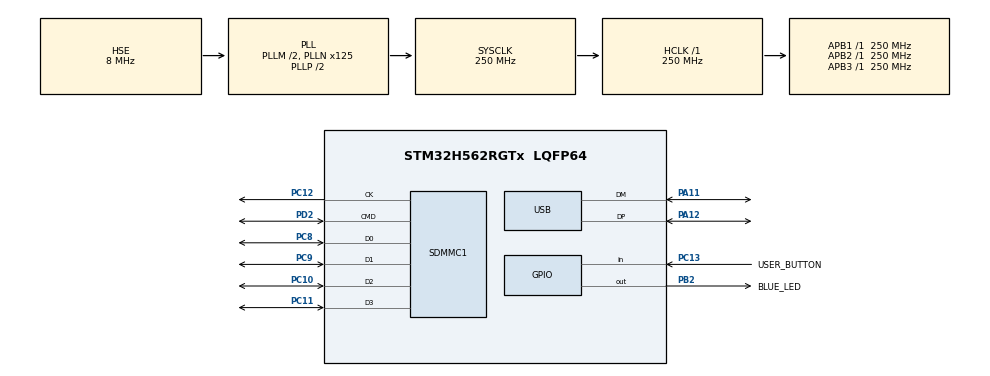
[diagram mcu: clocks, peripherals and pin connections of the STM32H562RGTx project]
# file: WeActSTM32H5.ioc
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BOOTPATH.BootPathName=LEGACY
BOOTPATH.UserSelectedBootPath=LEGACY
CORTEX_M33_NS.userName=CORTEX_M33
Mcu.Family=STM32H5
Mcu.Name=STM32H562RGTx
Mcu.Package=LQFP64
NVIC.PriorityGroup=NVIC_PRIORITYGROUP_4
NVIC.TIM1_UP_IRQn=true\:15\:0\:false\:false\:true\:false\:false\:true\:true
NVIC.TimeBase=TIM1_UP_IRQn
NVIC.TimeBaseIP=TIM1
NVIC.USB_DRD_FS_IRQn=true\:0\:0\:false\:false\:true\:false\:true\:true\:true
PA11.Mode=Device
PA11.Signal=USB_DM
PA12.Mode=Device
PA12.Signal=USB_DP
PA13(JTMS/SWDIO).Mode=Serial_Wire
PA13(JTMS/SWDIO).Signal=DEBUG_JTMS-SWDIO
PA14(JTCK/SWCLK).Mode=Serial_Wire
PA14(JTCK/SWCLK).Signal=DEBUG_JTCK-SWCLK
PB2.GPIO_Label=BLUE_LED
PB2.Signal=GPIO_Output
PC10.Mode=SD_4_bits_Wide_bus
PC10.Signal=SDMMC1_D2
PC11.Mode=SD_4_bits_Wide_bus
PC11.Signal=SDMMC1_D3
PC12.Mode=SD_4_bits_Wide_bus
PC12.Signal=SDMMC1_CK
PC13.GPIO_Label=USER_BUTTON
PC13.Signal=GPIO_Input
PC14-OSC32_IN(OSC32_IN).Mode=LSE-External-Oscillator
PC14-OSC32_IN(OSC32_IN).Signal=RCC_OSC32_IN
PC15-OSC32_OUT(OSC32_OUT).Mode=LSE-External-Oscillator
PC15-OSC32_OUT(OSC32_OUT).Signal=RCC_OSC32_OUT
PC8.GPIO_PuPd=GPIO_NOPULL
PC8.GPIO_Speed_High_Only=GPIO_SPEED_FREQ_HIGH
PC8.Mode=SD_4_bits_Wide_bus
PC8.Signal=SDMMC1_D0
PC9.Mode=SD_4_bits_Wide_bus
PC9.Signal=SDMMC1_D1
PD2.Mode=SD_4_bits_Wide_bus
PD2.Signal=SDMMC1_CMD
PH0-OSC_IN(PH0).Mode=HSE-External-Oscillator
PH0-OSC_IN(PH0).Signal=RCC_OSC_IN
PH1-OSC_OUT(PH1).Mode=HSE-External-Oscillator
PH1-OSC_OUT(PH1).Signal=RCC_OSC_OUT
ProjectManager.HeapSize=0x200
ProjectManager.StackSize=0x2000
ProjectManager.TargetToolchain=CMake
RCC.ADCFreq_Value=250000000
RCC.AHBFreq_Value=250000000
RCC.APB1Freq_Value=250000000
RCC.APB1TimFreq_Value=250000000
RCC.APB2Freq_Value=250000000
RCC.APB2TimFreq_Value=250000000
RCC.APB3Freq_Value=250000000
RCC.CSI_VALUE=4000000
RCC.CortexFreq_Value=250000000
RCC.EPOD_VALUE=8000000
RCC.HCLKFreq_Value=250000000
RCC.HSE_VALUE=8000000
RCC.HSI48_VALUE=48000000
RCC.HSI_VALUE=64000000
RCC.LSE_Drive_Capability=RCC_LSEDRIVE_MEDIUMHIGH
RCC.LSIRC_VALUE=32000
RCC.PLL2M=2
RCC.PLL2N=124
RCC.PLLM=2
RCC.PLLN=125
RCC.PLLSourceVirtual=RCC_PLL1_SOURCE_HSE
RCC.RTCClockSelection=RCC_RTCCLKSOURCE_LSE
RCC.SDMMC1ClockSelection=RCC_SDMMC1CLKSOURCE_PLL2R
RCC.SYSCLKFreq_VALUE=250000000
RCC.SYSCLKSource=RCC_SYSCLKSOURCE_PLLCLK
RCC.USBFreq_Value=48000000
RCC.VCOOutputFreq_Value=500000000
RTC.Format=RTC_FORMAT_BIN
RTC.Month=RTC_MONTH_JULY
RTC.Year=24
SDMMC1.ClockDiv=8
SDMMC1.HardwareFlowControl=SDMMC_HARDWARE_FLOW_CONTROL_ENABLE
SDMMC1.TransceiverPresent=SDMMC_TRANSCEIVER_NOT_PRESENT
USB.VirtualMode=Device_Only
USBX.BSP.number=1
USBX.Core_System=1
USBX.MAX_POWER_IN_MILLI_AMPER=500
USBX.REG_USBX_DEVICE_CON_CK=0
USBX.USBD_COMPOSITE_USE_IAD=0
USBX.USBD_MANUFACTURER_STRING=Gramini Labs
USBX.USBD_MSC_EPOUT_ADDR=1
USBX.USBD_PRODUCT_STRING=Gramini JPEG Encoder
USBX.USBX_DEVICE_SYS_SIZE=5*1024
USBX.UX_DEVICE_STORAGE=1
USBX.UX_Device_Controller=1
USBX.UX_Device_CoreStack=1
USBX.UX_SLAVE_CLASS_STORAGE_INCLUDE_MMC=0
USBX.UX_SLAVE_REQUEST_DATA_MAX_LENGTH=1024
USBX0.BSP.STBoard=false
USBX0.BSP.api=Unknown
USBX0.BSP.instance=USB
USBX0.BSP.ip=USB
USBX0.BSP.mode=Device_Only
USBX0.BSP.name=USB_Device
USBX0.BSP.solution=USB
VP_BOOTPATH_VS_BOOTPATH.Mode=BP_Activate
VP_CORDIC_VS_CORDIC.Mode=CORDIC_Activate
VP_CORTEX_M33_NS_VS_Hclk.Mode=Hclk_Mode
VP_DCACHE1_VS_DCACHE.Mode=DCACHE_Activate
VP_FMAC_VS_FMAC.Mode=FMAC_Activate
VP_ICACHE_VS_ICACHE.Mode=DefaultMode
VP_MEMORYMAP_VS_MEMORYMAP.Mode=CurAppReg
VP_PWR_VS_DBSignals.Mode=DisableDeadBatterySignals
VP_PWR_VS_LPOM.Mode=PowerOptimisation
VP_PWR_VS_SECSignals.Mode=Security/Privilege
VP_RTC_VS_RTC_Activate.Mode=RTC_Enabled
VP_RTC_VS_RTC_Calendar.Mode=RTC_Calendar
VP_SYS_VS_tim1.Mode=TIM1
VP_THREADX_VS_RTOSJjThreadXJjCoreJjDefault.Mode=Core_Default
VP_USBX_Core_System.Mode=Core_System
VP_USBX_UX\ Device\ Controller_FS.Mode=UX_Device_Controller_FS
VP_USBX_UX\ Device\ CoreStack_FS.Mode=UX_Device_CoreStack_FS
VP_USBX_UX\ Device\ MSC_FS.Mode=UX_Device_class_MSC_FS
board=custom

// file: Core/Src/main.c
/* USER CODE BEGIN Header */
/**
  ******************************************************************************
  * @file           : main.c
  * @brief          : Main program body
  ******************************************************************************
  * @attention
  *
  * Copyright (c) 2026 STMicroelectronics.
  * All rights reserved.
  *
  * This software is licensed under terms that can be found in the LICENSE file
  * in the root directory of this software component.
  * If no LICENSE file comes with this software, it is provided AS-IS.
  *
  ******************************************************************************
  */
/* USER CODE END Header */
#include "app_threadx.h"
#include "main.h"
#include "cordic.h"
#include "dcache.h"
#include "fmac.h"
#include "icache.h"
#include "rtc.h"
#include "usb.h"
#include "gpio.h"

/* USER CODE BEGIN Includes */
#include "logger.h"
#include "led_status.h"
#include "sdmmc.h"

#include "app_usbx_device.h"
#include "ux_device_cdc_acm.h"
#include "ux_api.h"
/* USER CODE END Includes */

/* USER CODE BEGIN PV */

/* Updated by main() at key checkpoints so Error_Handler can report where we died. */
volatile uint8_t g_boot_stage = 0U;

/* Reset cause flags captured at boot */
volatile uint32_t g_last_reset_flags = 0U;

/* Reboot counter stored in backup register 0 */
volatile uint32_t g_reboot_count = 0U;

/* USER CODE END PV */

void SystemClock_Config(void);
/* USER CODE BEGIN PFP */

static void MX_CRS_Init_For_USB(void);

/* USER CODE END PFP */

/* USER CODE BEGIN 0 */

/* Extern declarations for RTC backup functions */
extern uint32_t RTC_ReadBackupRegister(uint32_t regIndex);
extern void RTC_WriteBackupRegister(uint32_t regIndex, uint32_t value);

#define BKUP_REBOOT_COUNTER_IDX  0U
#define BKUP_MAGIC_IDX           1U
#define BKUP_MAGIC_VALUE         0xDEADBEEFU

/* USER CODE END 0 */

int main(void)
{
  /* USER CODE BEGIN 1 */
  g_boot_stage = 1U;
  /* USER CODE END 1 */

  /* MCU Configuration--------------------------------------------------------*/

  /* Reset of all peripherals, Initializes the Flash interface and the Systick. */
  HAL_Init();

  /* USER CODE BEGIN Init */
  /* Early stabilization delay - allows power rails and clocks to settle */
  for (volatile uint32_t i = 0; i < 500000U; i++) { __NOP(); }
  /* USER CODE END Init */

  /* Configure the system clock */
  SystemClock_Config();

  /* USER CODE BEGIN SysInit */
  g_boot_stage = 2U;

  /* Post-clock stabilization delay (100ms) */
  HAL_Delay(100U);

  /* Check and log reset cause */
  {
    uint32_t reset_flags = RCC->RSR;
    if (reset_flags & RCC_RSR_IWDGRSTF) {
      /* IWDG reset - log later when CDC is ready */
    } else if (reset_flags & RCC_RSR_WWDGRSTF) {
      /* WWDG reset */
    } else if (reset_flags & RCC_RSR_SFTRSTF) {
      /* Software reset */
    } else if (reset_flags & RCC_RSR_BORRSTF) {
      /* Brown-out reset */
    } else if (reset_flags & RCC_RSR_PINRSTF) {
      /* Pin reset (NRST) */
    }
    /* Store for later logging */
    g_last_reset_flags = reset_flags;
    /* Clear reset flags */
    __HAL_RCC_CLEAR_RESET_FLAGS();
  }

  /* USB FS uses HSI48; enable CRS trimming (matches WeAct examples). */
  MX_CRS_Init_For_USB();
  /* USER CODE END SysInit */

  /* Initialize all configured peripherals */
  MX_GPIO_Init();
  /* MX_ICACHE_Init(); */
  MX_RTC_Init();
  MX_CORDIC_Init();
  /* MX_DCACHE1_Init(); */
  MX_FMAC_Init();
  /* USER CODE BEGIN 2 */
  g_boot_stage = 3U;

  LED_Init();

  /* Minimal boot sign-of-life (single short blink). */
  LED_On();
  HAL_Delay(100U);
  LED_Off();

  /* Track reboot count using RTC backup registers (persists across resets) */
  HAL_PWR_EnableBkUpAccess();
  if (RTC_ReadBackupRegister(BKUP_MAGIC_IDX) != BKUP_MAGIC_VALUE) {
    /* First boot after power cycle - initialize */
    RTC_WriteBackupRegister(BKUP_MAGIC_IDX, BKUP_MAGIC_VALUE);
    RTC_WriteBackupRegister(BKUP_REBOOT_COUNTER_IDX, 0U);
    g_reboot_count = 0U;
  } else {
    /* Subsequent reset - increment counter */
    g_reboot_count = RTC_ReadBackupRegister(BKUP_REBOOT_COUNTER_IDX) + 1U;
    RTC_WriteBackupRegister(BKUP_REBOOT_COUNTER_IDX, g_reboot_count);
  }

  /* Initialize SD card - required for FatFS.
   * Simple init, no hot-plug, no MSC mode switching. */
  g_boot_stage = 4U;
  MX_SDMMC1_SD_Init();

  /* Next: ThreadX/USBX init */
  g_boot_stage = 5U;

#if defined(USBX_STANDALONE_BRINGUP)
  /* USBX standalone bring-up (no ThreadX). */
  /* Initialize Logger first (buffers etc) */
  Logger_Init();

  (void)MX_USBX_Device_Standalone_Init();
  MX_USB_PCD_Init();

  /* Configure PMA (Packet Memory Area) for endpoints.
   * STM32H5 USB has 2KB PMA. BDT (Buffer Descriptor Table) uses the first
   * 8 entries × 8 bytes = 64 bytes (0x00-0x3F).
   * Endpoint buffers must start at 0x40 or later.
   *
   * Layout (64-byte buffers each):
   * 0x040: EP0 OUT (64 bytes)
   * 0x080: EP0 IN  (64 bytes)
   * 0x0C0: MSC OUT (EP1 OUT) (64 bytes)
   * 0x100: MSC IN  (EP1 IN)  (64 bytes)
   * 0x140: CDC DATA OUT (EP3 OUT) (64 bytes)
   * 0x180: CDC DATA IN  (EP3 IN)  (64 bytes)
   * 0x1C0: CDC CMD  IN  (EP2 IN)  (8 bytes, but allocate 64 for alignment)
   */
  HAL_PCDEx_PMAConfig(&hpcd_USB_DRD_FS, 0x00, PCD_SNG_BUF, 0x40);
  HAL_PCDEx_PMAConfig(&hpcd_USB_DRD_FS, 0x80, PCD_SNG_BUF, 0x80);
  HAL_PCDEx_PMAConfig(&hpcd_USB_DRD_FS, 0x01, PCD_SNG_BUF, 0xC0);
  HAL_PCDEx_PMAConfig(&hpcd_USB_DRD_FS, 0x81, PCD_SNG_BUF, 0x100);
  HAL_PCDEx_PMAConfig(&hpcd_USB_DRD_FS, 0x03, PCD_SNG_BUF, 0x140);
  HAL_PCDEx_PMAConfig(&hpcd_USB_DRD_FS, 0x83, PCD_SNG_BUF, 0x180);
  HAL_PCDEx_PMAConfig(&hpcd_USB_DRD_FS, 0x82, PCD_SNG_BUF, 0x1C0);

  ux_dcd_stm32_initialize((ULONG)USB_DRD_FS, (ULONG)&hpcd_USB_DRD_FS);
  HAL_PCD_Start(&hpcd_USB_DRD_FS);
#endif
  /* USER CODE END 2 */

#if !defined(USBX_STANDALONE_BRINGUP)
  MX_ThreadX_Init();
#endif

  /* We should never get here as control is now taken by the scheduler */

  /* Infinite loop */
  while (1)
  {

    /* USER CODE BEGIN 3 */
#if defined(USBX_STANDALONE_BRINGUP)
    /* Standalone USBX needs periodic polling. */
    ux_system_tasks_run();

    /* Poll for SD card insertion/removal (rate-limited internally to every 500ms) */
    SDMMC1_PollCardPresence();

    /* Poll CDC line state to detect DTR changes (reconnection). */
    USBD_CDC_ACM_PollLineState();

    Logger_Run();

    HAL_Delay(1U);
#endif
  }
  /* USER CODE END 3 */
}

void SystemClock_Config(void)
{
  RCC_OscInitTypeDef RCC_OscInitStruct = {0};
  RCC_ClkInitTypeDef RCC_ClkInitStruct = {0};

  /** Configure the main internal regulator output voltage
  */
  __HAL_PWR_VOLTAGESCALING_CONFIG(PWR_REGULATOR_VOLTAGE_SCALE0);

  while(!__HAL_PWR_GET_FLAG(PWR_FLAG_VOSRDY)) {}

  /** Configure LSE Drive Capability
  *  Warning : Only applied when the LSE is disabled.
  */
  HAL_PWR_EnableBkUpAccess();
  __HAL_RCC_LSEDRIVE_CONFIG(RCC_LSEDRIVE_MEDIUMHIGH);

  /** Initializes the RCC Oscillators according to the specified parameters
  * in the RCC_OscInitTypeDef structure.
  */
  RCC_OscInitStruct.OscillatorType = RCC_OSCILLATORTYPE_HSI48|RCC_OSCILLATORTYPE_HSE
                              |RCC_OSCILLATORTYPE_LSE|RCC_OSCILLATORTYPE_CSI;
  RCC_OscInitStruct.HSEState = RCC_HSE_ON;
  RCC_OscInitStruct.LSEState = RCC_LSE_ON;
  RCC_OscInitStruct.HSI48State = RCC_HSI48_ON;
  RCC_OscInitStruct.CSIState = RCC_CSI_ON;
  RCC_OscInitStruct.CSICalibrationValue = RCC_CSICALIBRATION_DEFAULT;
  RCC_OscInitStruct.PLL.PLLState = RCC_PLL_ON;
  RCC_OscInitStruct.PLL.PLLSource = RCC_PLL1_SOURCE_HSE;
  RCC_OscInitStruct.PLL.PLLM = 2;
  RCC_OscInitStruct.PLL.PLLN = 125;
  RCC_OscInitStruct.PLL.PLLP = 2;
  RCC_OscInitStruct.PLL.PLLQ = 2;
  RCC_OscInitStruct.PLL.PLLR = 2;
  RCC_OscInitStruct.PLL.PLLRGE = RCC_PLL1_VCIRANGE_2;
  RCC_OscInitStruct.PLL.PLLVCOSEL = RCC_PLL1_VCORANGE_WIDE;
  RCC_OscInitStruct.PLL.PLLFRACN = 0;
  if (HAL_RCC_OscConfig(&RCC_OscInitStruct) != HAL_OK)
  {
    Error_Handler();
  }

  /** Initializes the CPU, AHB and APB buses clocks
  */
  RCC_ClkInitStruct.ClockType = RCC_CLOCKTYPE_HCLK|RCC_CLOCKTYPE_SYSCLK
                              |RCC_CLOCKTYPE_PCLK1|RCC_CLOCKTYPE_PCLK2
                              |RCC_CLOCKTYPE_PCLK3;
  RCC_ClkInitStruct.SYSCLKSource = RCC_SYSCLKSOURCE_PLLCLK;
  RCC_ClkInitStruct.AHBCLKDivider = RCC_SYSCLK_DIV1;
  RCC_ClkInitStruct.APB1CLKDivider = RCC_HCLK_DIV1;
  RCC_ClkInitStruct.APB2CLKDivider = RCC_HCLK_DIV1;
  RCC_ClkInitStruct.APB3CLKDivider = RCC_HCLK_DIV1;

  if (HAL_RCC_ClockConfig(&RCC_ClkInitStruct, FLASH_LATENCY_5) != HAL_OK)
  {
    Error_Handler();
  }

  /** Configure the programming delay
  */
  __HAL_FLASH_SET_PROGRAM_DELAY(FLASH_PROGRAMMING_DELAY_2);
}

/* USER CODE BEGIN 4 */

static void MX_CRS_Init_For_USB(void)
{
  RCC_CRSInitTypeDef RCC_CRSInitStruct = {0};

  /* Enable the CRS APB clock */
  __HAL_RCC_CRS_CLK_ENABLE();

  /* Configure CRS to synchronize HSI48 to USB SOF (1kHz). */
  RCC_CRSInitStruct.Prescaler = RCC_CRS_SYNC_DIV1;
  RCC_CRSInitStruct.Source = RCC_CRS_SYNC_SOURCE_USB;
  RCC_CRSInitStruct.Polarity = RCC_CRS_SYNC_POLARITY_RISING;
  RCC_CRSInitStruct.ReloadValue = __HAL_RCC_CRS_RELOADVALUE_CALCULATE(48000000, 1000);
  RCC_CRSInitStruct.ErrorLimitValue = 34;
  RCC_CRSInitStruct.HSI48CalibrationValue = 32;

  HAL_RCCEx_CRSConfig(&RCC_CRSInitStruct);
}

/* USER CODE END 4 */

void HAL_TIM_PeriodElapsedCallback(TIM_HandleTypeDef *htim)
{
  if (htim->Instance == TIM1)
  {
    HAL_IncTick();
  }
}

void Error_Handler(void)
{
  /* USER CODE BEGIN Error_Handler_Debug */
  /* Report fatal HAL errors using the LED and stop. */
  LED_FatalStageCode((uint8_t)g_boot_stage, 1U);
  /* USER CODE END Error_Handler_Debug */
}
